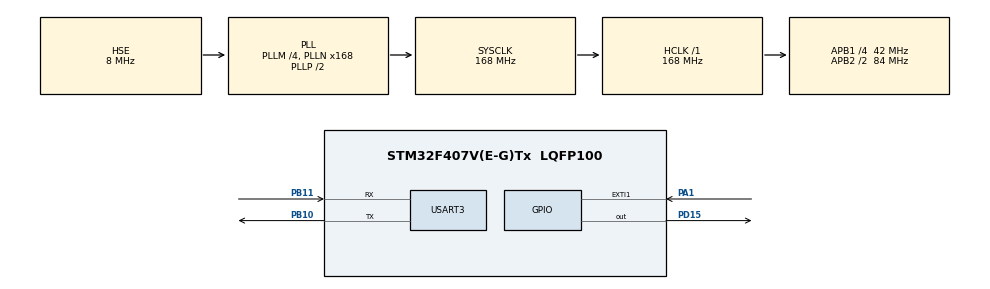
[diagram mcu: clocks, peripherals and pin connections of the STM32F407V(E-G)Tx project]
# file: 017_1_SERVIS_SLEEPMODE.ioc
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Mcu.Family=STM32F4
NVIC.USART3_IRQn=true\:0\:0\:false\:false\:true\:true\:true
RCC.PLLSourceVirtual=RCC_PLLSOURCE_HSE
PH0-OSC_IN.Signal=RCC_OSC_IN
RCC.CortexFreq_Value=168000000
PB10.Mode=Asynchronous
RCC.APB1CLKDivider=RCC_HCLK_DIV4
PB11.Signal=USART3_RX
RCC.SYSCLKSource=RCC_SYSCLKSOURCE_PLLCLK
ProjectManager.StackSize=0x400
PA13.Signal=SYS_JTMS-SWDIO
NVIC.EXTI1_IRQn=true\:0\:0\:false\:false\:true\:true\:true
PB11.Mode=Asynchronous
ProjectManager.TargetToolchain=STM32CubeIDE
RCC.HCLKFreq_Value=168000000
RCC.APB2TimFreq_Value=168000000
RCC.LSE_VALUE=32768
PA1.Signal=GPXTI1
RCC.AHBFreq_Value=168000000
PH0-OSC_IN.Mode=HSE-External-Oscillator
PB10.Signal=USART3_TX
RCC.HSE_VALUE=8000000
board=custom
RCC.VCOOutputFreq_Value=336000000
RCC.APB2Freq_Value=84000000
PA14.Mode=Serial_Wire
PH1-OSC_OUT.Signal=RCC_OSC_OUT
PA13.Mode=Serial_Wire
Mcu.Name=STM32F407V(E-G)Tx
PH1-OSC_OUT.Mode=HSE-External-Oscillator
RCC.48MHZClocksFreq_Value=84000000
RCC.SYSCLKFreq_VALUE=168000000
Mcu.Package=LQFP100
USART3.VirtualMode=VM_ASYNC
PA14.Signal=SYS_JTCK-SWCLK
ProjectManager.HeapSize=0x200
RCC.HSI_VALUE=16000000
NVIC.PriorityGroup=NVIC_PRIORITYGROUP_4
RCC.APB2CLKDivider=RCC_HCLK_DIV2
RCC.PLLM=4
RCC.PLLN=168
RCC.APB1TimFreq_Value=84000000
RCC.APB1Freq_Value=42000000
PD15.Signal=GPIO_Output

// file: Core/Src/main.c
/* USER CODE BEGIN Header */
/**
  ******************************************************************************
  * @file           : main.c
  * @brief          : Main program body
  ******************************************************************************
  * @attention
  *
  * <h2><center>&copy; Copyright (c) 2021 STMicroelectronics.
  * All rights reserved.</center></h2>
  *
  * This software component is licensed by ST under BSD 3-Clause license,
  * the "License"; You may not use this file except in compliance with the
  * License. You may obtain a copy of the License at:
  *                        opensource.org/licenses/BSD-3-Clause
  *
  ******************************************************************************
  */
/* USER CODE END Header */
#include "main.h"

/* USER CODE BEGIN Includes */

#include "stdio.h"
#include "string.h"

/* USER CODE END Includes */

UART_HandleTypeDef huart3;

/* USER CODE BEGIN PV */

//char tx_buff[50];
char *str = {0};

/* USER CODE END PV */

void SystemClock_Config(void);
static void MX_GPIO_Init(void);
static void MX_USART3_UART_Init(void);

/* USER CODE BEGIN 0 */

uint8_t Rx_data;

//void HAL_UART_RxCpltCallback(UART_HandleTypeDef *huart)
//{
//	 HAL_UART_Receive_IT(&huart3, &Rx_data, 1);
//}

/* USER CODE END 0 */

int main(void)
{

  /* MCU Configuration--------------------------------------------------------*/

  /* Reset of all peripherals, Initializes the Flash interface and the Systick. */
  HAL_Init();

  /* Configure the system clock */
  SystemClock_Config();

  /* Initialize all configured peripherals */
  MX_GPIO_Init();
  MX_USART3_UART_Init();
  /* USER CODE BEGIN 2 */

//  HAL_UART_Receive_IT(&huart1, &Rx_data, 1);

  /* USER CODE END 2 */

  /* Infinite loop */
  while (1)
  {

    /* USER CODE BEGIN 3 */
	  str = "uyuyorum \r\n";
	  HAL_UART_Transmit(&huart3, (uint8_t *)str , strlen(str), HAL_MAX_DELAY); // usart haberleşmesi başlasın ve mesaj gitsin
	  HAL_Delay(1000);
	  HAL_GPIO_WritePin(GPIOD, GPIO_PIN_15, GPIO_PIN_SET); // uyku modouna girmeden önce 5 sn ledleri yakın
	  HAL_Delay(5000);

	  HAL_SuspendTick();
	  HAL_GPIO_WritePin(GPIOD, GPIO_PIN_15, 0);	// uyku moduna girmeden önce ledleri kapatın

	  // uyku moduna girin
	  HAL_PWR_EnterSLEEPMode(PWR_LOWPOWERREGULATOR_ON, PWR_SLEEPENTRY_WFI); // interrupt for wake up

	  HAL_ResumeTick();

	  str = "uyandım \r\n";
	  HAL_UART_Transmit(&huart3, (uint8_t *)str , strlen(str), HAL_MAX_DELAY); // usart haberleşmesi başlasın ve mesaj gitsin

	  for(int i=0; i < 20; i++)
	  {
		  HAL_GPIO_TogglePin(GPIOD, GPIO_PIN_15);
		  HAL_Delay(150);
	  }

  }
  /* USER CODE END 3 */
}

void SystemClock_Config(void)
{
  RCC_OscInitTypeDef RCC_OscInitStruct = {0};
  RCC_ClkInitTypeDef RCC_ClkInitStruct = {0};

  /** Configure the main internal regulator output voltage
  */
  __HAL_RCC_PWR_CLK_ENABLE();
  __HAL_PWR_VOLTAGESCALING_CONFIG(PWR_REGULATOR_VOLTAGE_SCALE1);
  /** Initializes the RCC Oscillators according to the specified parameters
  * in the RCC_OscInitTypeDef structure.
  */
  RCC_OscInitStruct.OscillatorType = RCC_OSCILLATORTYPE_HSE;
  RCC_OscInitStruct.HSEState = RCC_HSE_ON;
  RCC_OscInitStruct.PLL.PLLState = RCC_PLL_ON;
  RCC_OscInitStruct.PLL.PLLSource = RCC_PLLSOURCE_HSE;
  RCC_OscInitStruct.PLL.PLLM = 4;
  RCC_OscInitStruct.PLL.PLLN = 168;
  RCC_OscInitStruct.PLL.PLLP = RCC_PLLP_DIV2;
  RCC_OscInitStruct.PLL.PLLQ = 4;
  if (HAL_RCC_OscConfig(&RCC_OscInitStruct) != HAL_OK)
  {
    Error_Handler();
  }
  /** Initializes the CPU, AHB and APB buses clocks
  */
  RCC_ClkInitStruct.ClockType = RCC_CLOCKTYPE_HCLK|RCC_CLOCKTYPE_SYSCLK
                              |RCC_CLOCKTYPE_PCLK1|RCC_CLOCKTYPE_PCLK2;
  RCC_ClkInitStruct.SYSCLKSource = RCC_SYSCLKSOURCE_PLLCLK;
  RCC_ClkInitStruct.AHBCLKDivider = RCC_SYSCLK_DIV1;
  RCC_ClkInitStruct.APB1CLKDivider = RCC_HCLK_DIV4;
  RCC_ClkInitStruct.APB2CLKDivider = RCC_HCLK_DIV2;

  if (HAL_RCC_ClockConfig(&RCC_ClkInitStruct, FLASH_LATENCY_5) != HAL_OK)
  {
    Error_Handler();
  }
}

static void MX_USART3_UART_Init(void)
{

  huart3.Instance = USART3;
  huart3.Init.BaudRate = 115200;
  huart3.Init.WordLength = UART_WORDLENGTH_8B;
  huart3.Init.StopBits = UART_STOPBITS_1;
  huart3.Init.Parity = UART_PARITY_NONE;
  huart3.Init.Mode = UART_MODE_TX_RX;
  huart3.Init.HwFlowCtl = UART_HWCONTROL_NONE;
  huart3.Init.OverSampling = UART_OVERSAMPLING_16;
  if (HAL_UART_Init(&huart3) != HAL_OK)
  {
    Error_Handler();
  }

}

static void MX_GPIO_Init(void)
{
  GPIO_InitTypeDef GPIO_InitStruct = {0};

  /* GPIO Ports Clock Enable */
  __HAL_RCC_GPIOH_CLK_ENABLE();
  __HAL_RCC_GPIOA_CLK_ENABLE();
  __HAL_RCC_GPIOB_CLK_ENABLE();
  __HAL_RCC_GPIOD_CLK_ENABLE();

  /*Configure GPIO pin Output Level */
  HAL_GPIO_WritePin(GPIOD, GPIO_PIN_15, GPIO_PIN_RESET);

  /*Configure GPIO pin : PA1 */
  GPIO_InitStruct.Pin = GPIO_PIN_1;
  GPIO_InitStruct.Mode = GPIO_MODE_IT_RISING;
  GPIO_InitStruct.Pull = GPIO_NOPULL;
  HAL_GPIO_Init(GPIOA, &GPIO_InitStruct);

  /*Configure GPIO pin : PD15 */
  GPIO_InitStruct.Pin = GPIO_PIN_15;
  GPIO_InitStruct.Mode = GPIO_MODE_OUTPUT_PP;
  GPIO_InitStruct.Pull = GPIO_NOPULL;
  GPIO_InitStruct.Speed = GPIO_SPEED_FREQ_LOW;
  HAL_GPIO_Init(GPIOD, &GPIO_InitStruct);

  /* EXTI interrupt init*/
  HAL_NVIC_SetPriority(EXTI1_IRQn, 0, 0);
  HAL_NVIC_EnableIRQ(EXTI1_IRQn);

}

void Error_Handler(void)
{
  __disable_irq();
  while (1)
  {
  }
}

/************************ (C) COPYRIGHT STMicroelectronics *****END OF FILE****/
